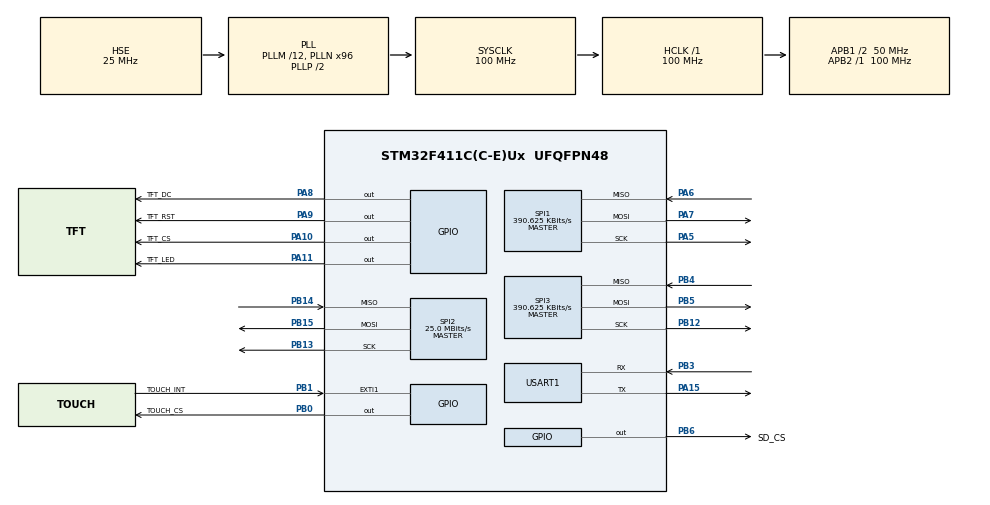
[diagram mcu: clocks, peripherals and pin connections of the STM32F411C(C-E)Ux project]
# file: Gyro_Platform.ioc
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Dma.Request0=SPI2_TX
Dma.SPI2_TX.0.Direction=DMA_MEMORY_TO_PERIPH
Dma.SPI2_TX.0.FIFOMode=DMA_FIFOMODE_DISABLE
Dma.SPI2_TX.0.Instance=DMA1_Stream4
Dma.SPI2_TX.0.MemDataAlignment=DMA_MDATAALIGN_BYTE
Dma.SPI2_TX.0.MemInc=DMA_MINC_ENABLE
Dma.SPI2_TX.0.Mode=DMA_NORMAL
Dma.SPI2_TX.0.PeriphDataAlignment=DMA_PDATAALIGN_BYTE
Dma.SPI2_TX.0.PeriphInc=DMA_PINC_DISABLE
Dma.SPI2_TX.0.Priority=DMA_PRIORITY_HIGH
FATFS._MAX_SS=512
FATFS._USE_FIND=1
Mcu.Family=STM32F4
Mcu.Name=STM32F411C(C-E)Ux
Mcu.Package=UFQFPN48
NVIC.DMA1_Stream4_IRQn=true\:0\:0\:false\:false\:true\:false\:true\:true
NVIC.EXTI1_IRQn=true\:8\:0\:true\:false\:true\:true\:true\:true
NVIC.PriorityGroup=NVIC_PRIORITYGROUP_4
NVIC.USART1_IRQn=true\:0\:0\:false\:false\:true\:true\:true\:true
PA10.GPIO_Label=TFT_CS
PA10.GPIO_PuPd=GPIO_PULLUP
PA10.GPIO_Speed=GPIO_SPEED_FREQ_HIGH
PA10.PinState=GPIO_PIN_SET
PA10.Signal=GPIO_Output
PA11.GPIO_Label=TFT_LED
PA11.GPIO_PuPd=GPIO_PULLUP
PA11.GPIO_Speed=GPIO_SPEED_FREQ_HIGH
PA11.PinState=GPIO_PIN_SET
PA11.Signal=GPIO_Output
PA15.Mode=Asynchronous
PA15.Signal=USART1_TX
PA5.Mode=Full_Duplex_Master
PA5.Signal=SPI1_SCK
PA6.Mode=Full_Duplex_Master
PA6.Signal=SPI1_MISO
PA7.Mode=Full_Duplex_Master
PA7.Signal=SPI1_MOSI
PA8.GPIO_Label=TFT_DC
PA8.GPIO_PuPd=GPIO_PULLUP
PA8.GPIO_Speed=GPIO_SPEED_FREQ_HIGH
PA8.PinState=GPIO_PIN_SET
PA8.Signal=GPIO_Output
PA9.GPIO_Label=TFT_RST
PA9.GPIO_PuPd=GPIO_PULLUP
PA9.GPIO_Speed=GPIO_SPEED_FREQ_HIGH
PA9.PinState=GPIO_PIN_SET
PA9.Signal=GPIO_Output
PB0.GPIO_Label=TOUCH_CS
PB0.GPIO_PuPd=GPIO_PULLUP
PB0.GPIO_Speed=GPIO_SPEED_FREQ_MEDIUM
PB0.PinState=GPIO_PIN_SET
PB0.Signal=GPIO_Output
PB1.GPIO_Label=TOUCH_INT
PB1.GPIO_ModeDefaultEXTI=GPIO_MODE_IT_RISING_FALLING
PB1.GPIO_PuPd=GPIO_PULLUP
PB1.Signal=GPXTI1
PB12.Mode=Full_Duplex_Master
PB12.Signal=SPI3_SCK
PB13.Mode=Full_Duplex_Master
PB13.Signal=SPI2_SCK
PB14.Mode=Full_Duplex_Master
PB14.Signal=SPI2_MISO
PB15.Mode=Full_Duplex_Master
PB15.Signal=SPI2_MOSI
PB3.Mode=Asynchronous
PB3.Signal=USART1_RX
PB4.Mode=Full_Duplex_Master
PB4.Signal=SPI3_MISO
PB5.Mode=Full_Duplex_Master
PB5.Signal=SPI3_MOSI
PB6.GPIO_Label=SD_CS
PB6.GPIO_PuPd=GPIO_PULLUP
PB6.GPIO_Speed=GPIO_SPEED_FREQ_HIGH
PB6.PinState=GPIO_PIN_SET
PB6.Signal=GPIO_Output
PH0\ -\ OSC_IN.Mode=HSE-External-Oscillator
PH0\ -\ OSC_IN.Signal=RCC_OSC_IN
PH1\ -\ OSC_OUT.Mode=HSE-External-Oscillator
PH1\ -\ OSC_OUT.Signal=RCC_OSC_OUT
ProjectManager.HeapSize=0x200
ProjectManager.StackSize=0x400
ProjectManager.TargetToolchain=STM32CubeIDE
RCC.48MHZClocksFreq_Value=50000000
RCC.AHBFreq_Value=100000000
RCC.APB1CLKDivider=RCC_HCLK_DIV2
RCC.APB1Freq_Value=50000000
RCC.APB1TimFreq_Value=100000000
RCC.APB2Freq_Value=100000000
RCC.APB2TimFreq_Value=100000000
RCC.CortexFreq_Value=100000000
RCC.HCLKFreq_Value=100000000
RCC.HSE_VALUE=25000000
RCC.HSI_VALUE=16000000
RCC.LSE_VALUE=32768
RCC.PLLM=12
RCC.PLLN=96
RCC.PLLSourceVirtual=RCC_PLLSOURCE_HSE
RCC.SYSCLKFreq_VALUE=100000000
RCC.SYSCLKSource=RCC_SYSCLKSOURCE_PLLCLK
RCC.VCOOutputFreq_Value=200000000
SPI1.BaudRatePrescaler=SPI_BAUDRATEPRESCALER_256
SPI1.CalculateBaudRate=390.625 KBits/s
SPI1.Direction=SPI_DIRECTION_2LINES
SPI1.Mode=SPI_MODE_MASTER
SPI1.VirtualType=VM_MASTER
SPI2.BaudRatePrescaler=SPI_BAUDRATEPRESCALER_2
SPI2.CLKPhase=SPI_PHASE_1EDGE
SPI2.CLKPolarity=SPI_POLARITY_LOW
SPI2.CalculateBaudRate=25.0 MBits/s
SPI2.Direction=SPI_DIRECTION_2LINES
SPI2.FirstBit=SPI_FIRSTBIT_MSB
SPI2.Mode=SPI_MODE_MASTER
SPI2.VirtualType=VM_MASTER
SPI3.BaudRatePrescaler=SPI_BAUDRATEPRESCALER_128
SPI3.CalculateBaudRate=390.625 KBits/s
SPI3.Direction=SPI_DIRECTION_2LINES
SPI3.Mode=SPI_MODE_MASTER
SPI3.VirtualType=VM_MASTER
USART1.VirtualMode=VM_ASYNC
VP_FATFS_VS_Generic.Mode=User_defined
board=custom

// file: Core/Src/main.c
/* USER CODE BEGIN Header */
/**
  ******************************************************************************
  * @file           : main.c
  * @brief          : Main program body
  ******************************************************************************
  * @attention
  *
  * Copyright (c) 2023 STMicroelectronics.
  * All rights reserved.
  *
  * This software is licensed under terms that can be found in the LICENSE file
  * in the root directory of this software component.
  * If no LICENSE file comes with this software, it is provided AS-IS.
  *
  ******************************************************************************
  */
/* USER CODE END Header */
#include "main.h"
#include "fatfs.h"

/* USER CODE BEGIN Includes */
#include <stdbool.h>
#include <stdio.h>
#include <stdlib.h>
#include <math.h>
#include <string.h>

#define ILI9341_INCLUDE_FONT_6x8
#define ILI9341_INCLUDE_FONT_7x10
#define ILI9341_INCLUDE_FONT_11x18
#define ILI9341_INCLUDE_FONT_16x26
#include "ILI9341_Driver.h"
#include "Graph.h"
#include "Filter.h"
#include "TouchScreen.h"
#include "DebugProtocol.h"
#include "Time.h"
/* USER CODE END Includes */

/* USER CODE BEGIN PTD */
typedef struct
{
    FATFS FatFs;         //Fatfs handle
    FIL fil;             //file handle
    uint16_t findex;     //file index
    char fname[16];      //file name
    FRESULT status;         //OK - true, ERROR - false
    uint32_t numRecords; //records counter
} file_t;
/* USER CODE END PTD */

SPI_HandleTypeDef hspi1;
SPI_HandleTypeDef hspi2;
SPI_HandleTypeDef hspi3;
DMA_HandleTypeDef hdma_spi2_tx;

UART_HandleTypeDef huart1;

/* USER CODE BEGIN PV */
timeUs_t currentTimeUs = 0, previousTimeUs = 0;

/* USER CODE END PV */

void SystemClock_Config(void);
static void MX_GPIO_Init(void);
static void MX_DMA_Init(void);
static void MX_SPI2_Init(void);
static void MX_USART1_UART_Init(void);
static void MX_SPI1_Init(void);
static void MX_SPI3_Init(void);
/* USER CODE BEGIN PFP */
static void InitGraphInterface();
static void GraphsAndTextUpdate(timeDelta_t, float*);
static void InitFileSystem(file_t*);
static void FileDataUpdate(file_t *file, timeUs_t time, float*);
static void FileSync(file_t*);
/* USER CODE END PFP */

/* USER CODE BEGIN 0 */
ILI9341_Port cs  = {TFT_CS_GPIO_Port , TFT_CS_Pin };
ILI9341_Port dc  = {TFT_DC_GPIO_Port , TFT_DC_Pin };
ILI9341_Port rst = {TFT_RST_GPIO_Port, TFT_RST_Pin};
ILI9341_Port led = {TFT_LED_GPIO_Port, TFT_LED_Pin};

Touch_Port touch_cs  = {TOUCH_CS_GPIO_Port , TOUCH_CS_Pin };
Touch_Port touch_int  = {TOUCH_INT_GPIO_Port , TOUCH_INT_Pin };

#ifdef ILI9341_INCLUDE_FONT_6x8
ILI9341_FontDef Font_6x8 = {6, 8, Font6x8, 32, 126};
#endif

#ifdef ILI9341_INCLUDE_FONT_7x10
ILI9341_FontDef Font_7x10 = {7, 10, Font7x10, 32, 126};
#endif

#ifdef ILI9341_INCLUDE_FONT_11x18
ILI9341_FontDef Font_11x18 = {11, 18, Font11x18, 32, 126};
#endif

#ifdef ILI9341_INCLUDE_FONT_16x26
ILI9341_FontDef Font_16x26 = {16, 26, Font16x26, 32, 126};
#endif

rect_t vBat_wnd, iBat_wnd, resBat_wnd, text_wnd;
point_t vBat_hdr, iBat_hdr, resBat_hdr;

graph_t vBat_graph, iBat_graph, iFilt_graph, resBat_graph, vSag_graph;

pt1Filter_t filter;

bool f_touch = false;
uint16_t guard_cnt = 0;
const uint16_t guard_threshold = 500;
uint16_t x, y;
uint8_t txt_wnd_num = 0;

const uint16_t data_num = 11;
float fltData[RX_MAX_CNT/sizeof(float)] = {0.0};

file_t file;
const uint16_t samples_threshold = 50; //to save the every 50 sample
float fltDataAvg[RX_MAX_CNT/sizeof(float)] = {0.0};
uint16_t samples_cnt = 0;

bool f_syncFile = false;
uint16_t syncFile_cnt = 0;
const uint16_t sync_period = 5000; //sync file period in milliseconds

bool first_filter_load = true;
/* USER CODE END 0 */

int main(void)
{

  /* MCU Configuration--------------------------------------------------------*/

  /* Reset of all peripherals, Initializes the Flash interface and the Systick. */
  HAL_Init();

  /* Configure the system clock */
  SystemClock_Config();

  /* USER CODE BEGIN SysInit */
  usTicks = SystemCoreClock / 1000000;
  /* USER CODE END SysInit */

  /* Initialize all configured peripherals */
  MX_GPIO_Init();
  MX_DMA_Init();
  MX_SPI2_Init();
  MX_USART1_UART_Init();
  MX_SPI1_Init();
  MX_SPI3_Init();
  MX_FATFS_Init();
  /* USER CODE BEGIN 2 */
  ILI9341_Set_Interface(&hspi2, true, &cs, &dc, &rst, &led);
  ILI9341_BackLight(true);
  ILI9341_Init();
  ILI9341_SetOrientation(SCREEN_VERTICAL_180GRAD);//SCREEN_HORIZONTAL_180GRAD);
  ILI9341_Clear(Black);

  Touch_Set_Interface(&hspi1, &touch_cs, &touch_int);

  InitGraphInterface();

  /* USER CODE END 2 */

  /* Infinite loop */
  /* USER CODE BEGIN WHILE */

  Debug_InitProtocol(&huart1, fltData);

  InitFileSystem(&file);

  while (1)
  {
      if (Debug_IsRxready())
      {
          currentTimeUs = micros();
          timeDelta_t dT = currentTimeUs - previousTimeUs;
          previousTimeUs = currentTimeUs;

          for (uint32_t i = 0; i < data_num; i++)
          {
              fltDataAvg[i] += fltData[i];
          }

          GraphsAndTextUpdate(dT, fltData);

          if (++samples_cnt == samples_threshold)
          {
              samples_cnt = 0;

              for (uint32_t i = 0; i < data_num; i++)
              {
                  fltDataAvg[i] /= samples_threshold;
              }

              FileDataUpdate(&file, currentTimeUs, fltDataAvg);

              for (uint32_t i = 0; i < data_num; i++)
              {
                  fltDataAvg[i] = 0;
              }
          }
      }

      if (f_touch == true)
      {
          f_touch = false;

          if (y < text_wnd.bottom)
          {
              ILI9341_DrawFillRectangle(text_wnd.left, text_wnd.top, text_wnd.right, text_wnd.bottom, Black);
             if (++txt_wnd_num > 1)
             {
                 txt_wnd_num = 0;
             }
          }
          else if (y > resBat_wnd.top)
          {
              uint8_t bt = 'R'; //Send reset signal to the host
              HAL_UART_Transmit_IT(&huart1, &bt, 1);
          }
      }

      if (f_syncFile == true)
      {
          f_syncFile = false;
          FileSync(&file);
      }

    /* USER CODE END WHILE */

  }
}

void SystemClock_Config(void)
{
  RCC_OscInitTypeDef RCC_OscInitStruct = {0};
  RCC_ClkInitTypeDef RCC_ClkInitStruct = {0};

  /** Configure the main internal regulator output voltage
  */
  __HAL_RCC_PWR_CLK_ENABLE();
  __HAL_PWR_VOLTAGESCALING_CONFIG(PWR_REGULATOR_VOLTAGE_SCALE1);

  /** Initializes the RCC Oscillators according to the specified parameters
  * in the RCC_OscInitTypeDef structure.
  */
  RCC_OscInitStruct.OscillatorType = RCC_OSCILLATORTYPE_HSE;
  RCC_OscInitStruct.HSEState = RCC_HSE_ON;
  RCC_OscInitStruct.PLL.PLLState = RCC_PLL_ON;
  RCC_OscInitStruct.PLL.PLLSource = RCC_PLLSOURCE_HSE;
  RCC_OscInitStruct.PLL.PLLM = 12;
  RCC_OscInitStruct.PLL.PLLN = 96;
  RCC_OscInitStruct.PLL.PLLP = RCC_PLLP_DIV2;
  RCC_OscInitStruct.PLL.PLLQ = 4;
  if (HAL_RCC_OscConfig(&RCC_OscInitStruct) != HAL_OK)
  {
    Error_Handler();
  }

  /** Initializes the CPU, AHB and APB buses clocks
  */
  RCC_ClkInitStruct.ClockType = RCC_CLOCKTYPE_HCLK|RCC_CLOCKTYPE_SYSCLK
                              |RCC_CLOCKTYPE_PCLK1|RCC_CLOCKTYPE_PCLK2;
  RCC_ClkInitStruct.SYSCLKSource = RCC_SYSCLKSOURCE_PLLCLK;
  RCC_ClkInitStruct.AHBCLKDivider = RCC_SYSCLK_DIV1;
  RCC_ClkInitStruct.APB1CLKDivider = RCC_HCLK_DIV2;
  RCC_ClkInitStruct.APB2CLKDivider = RCC_HCLK_DIV1;

  if (HAL_RCC_ClockConfig(&RCC_ClkInitStruct, FLASH_LATENCY_3) != HAL_OK)
  {
    Error_Handler();
  }
}

static void MX_SPI1_Init(void)
{

  /* SPI1 parameter configuration*/
  hspi1.Instance = SPI1;
  hspi1.Init.Mode = SPI_MODE_MASTER;
  hspi1.Init.Direction = SPI_DIRECTION_2LINES;
  hspi1.Init.DataSize = SPI_DATASIZE_8BIT;
  hspi1.Init.CLKPolarity = SPI_POLARITY_LOW;
  hspi1.Init.CLKPhase = SPI_PHASE_1EDGE;
  hspi1.Init.NSS = SPI_NSS_SOFT;
  hspi1.Init.BaudRatePrescaler = SPI_BAUDRATEPRESCALER_256;
  hspi1.Init.FirstBit = SPI_FIRSTBIT_MSB;
  hspi1.Init.TIMode = SPI_TIMODE_DISABLE;
  hspi1.Init.CRCCalculation = SPI_CRCCALCULATION_DISABLE;
  hspi1.Init.CRCPolynomial = 10;
  if (HAL_SPI_Init(&hspi1) != HAL_OK)
  {
    Error_Handler();
  }

}

static void MX_SPI2_Init(void)
{

  /* SPI2 parameter configuration*/
  hspi2.Instance = SPI2;
  hspi2.Init.Mode = SPI_MODE_MASTER;
  hspi2.Init.Direction = SPI_DIRECTION_2LINES;
  hspi2.Init.DataSize = SPI_DATASIZE_8BIT;
  hspi2.Init.CLKPolarity = SPI_POLARITY_LOW;
  hspi2.Init.CLKPhase = SPI_PHASE_1EDGE;
  hspi2.Init.NSS = SPI_NSS_SOFT;
  hspi2.Init.BaudRatePrescaler = SPI_BAUDRATEPRESCALER_2;
  hspi2.Init.FirstBit = SPI_FIRSTBIT_MSB;
  hspi2.Init.TIMode = SPI_TIMODE_DISABLE;
  hspi2.Init.CRCCalculation = SPI_CRCCALCULATION_DISABLE;
  hspi2.Init.CRCPolynomial = 10;
  if (HAL_SPI_Init(&hspi2) != HAL_OK)
  {
    Error_Handler();
  }

}

static void MX_SPI3_Init(void)
{

  /* SPI3 parameter configuration*/
  hspi3.Instance = SPI3;
  hspi3.Init.Mode = SPI_MODE_MASTER;
  hspi3.Init.Direction = SPI_DIRECTION_2LINES;
  hspi3.Init.DataSize = SPI_DATASIZE_8BIT;
  hspi3.Init.CLKPolarity = SPI_POLARITY_LOW;
  hspi3.Init.CLKPhase = SPI_PHASE_1EDGE;
  hspi3.Init.NSS = SPI_NSS_SOFT;
  hspi3.Init.BaudRatePrescaler = SPI_BAUDRATEPRESCALER_128;
  hspi3.Init.FirstBit = SPI_FIRSTBIT_MSB;
  hspi3.Init.TIMode = SPI_TIMODE_DISABLE;
  hspi3.Init.CRCCalculation = SPI_CRCCALCULATION_DISABLE;
  hspi3.Init.CRCPolynomial = 10;
  if (HAL_SPI_Init(&hspi3) != HAL_OK)
  {
    Error_Handler();
  }

}

static void MX_USART1_UART_Init(void)
{

  huart1.Instance = USART1;
  huart1.Init.BaudRate = 115200;
  huart1.Init.WordLength = UART_WORDLENGTH_8B;
  huart1.Init.StopBits = UART_STOPBITS_1;
  huart1.Init.Parity = UART_PARITY_NONE;
  huart1.Init.Mode = UART_MODE_TX_RX;
  huart1.Init.HwFlowCtl = UART_HWCONTROL_NONE;
  huart1.Init.OverSampling = UART_OVERSAMPLING_16;
  if (HAL_UART_Init(&huart1) != HAL_OK)
  {
    Error_Handler();
  }

}

static void MX_DMA_Init(void)
{

  /* DMA controller clock enable */
  __HAL_RCC_DMA1_CLK_ENABLE();

  /* DMA interrupt init */
  /* DMA1_Stream4_IRQn interrupt configuration */
  HAL_NVIC_SetPriority(DMA1_Stream4_IRQn, 0, 0);
  HAL_NVIC_EnableIRQ(DMA1_Stream4_IRQn);

}

static void MX_GPIO_Init(void)
{
  GPIO_InitTypeDef GPIO_InitStruct = {0};

  /* GPIO Ports Clock Enable */
  __HAL_RCC_GPIOH_CLK_ENABLE();
  __HAL_RCC_GPIOA_CLK_ENABLE();
  __HAL_RCC_GPIOB_CLK_ENABLE();

  /*Configure GPIO pin Output Level */
  HAL_GPIO_WritePin(GPIOB, TOUCH_CS_Pin|SD_CS_Pin, GPIO_PIN_SET);

  /*Configure GPIO pin Output Level */
  HAL_GPIO_WritePin(GPIOA, TFT_DC_Pin|TFT_RST_Pin|TFT_CS_Pin|TFT_LED_Pin, GPIO_PIN_SET);

  /*Configure GPIO pin : TOUCH_CS_Pin */
  GPIO_InitStruct.Pin = TOUCH_CS_Pin;
  GPIO_InitStruct.Mode = GPIO_MODE_OUTPUT_PP;
  GPIO_InitStruct.Pull = GPIO_PULLUP;
  GPIO_InitStruct.Speed = GPIO_SPEED_FREQ_MEDIUM;
  HAL_GPIO_Init(TOUCH_CS_GPIO_Port, &GPIO_InitStruct);

  /*Configure GPIO pin : TOUCH_INT_Pin */
  GPIO_InitStruct.Pin = TOUCH_INT_Pin;
  GPIO_InitStruct.Mode = GPIO_MODE_IT_RISING_FALLING;
  GPIO_InitStruct.Pull = GPIO_PULLUP;
  HAL_GPIO_Init(TOUCH_INT_GPIO_Port, &GPIO_InitStruct);

  /*Configure GPIO pins : TFT_DC_Pin TFT_RST_Pin TFT_CS_Pin TFT_LED_Pin */
  GPIO_InitStruct.Pin = TFT_DC_Pin|TFT_RST_Pin|TFT_CS_Pin|TFT_LED_Pin;
  GPIO_InitStruct.Mode = GPIO_MODE_OUTPUT_PP;
  GPIO_InitStruct.Pull = GPIO_PULLUP;
  GPIO_InitStruct.Speed = GPIO_SPEED_FREQ_HIGH;
  HAL_GPIO_Init(GPIOA, &GPIO_InitStruct);

  /*Configure GPIO pin : SD_CS_Pin */
  GPIO_InitStruct.Pin = SD_CS_Pin;
  GPIO_InitStruct.Mode = GPIO_MODE_OUTPUT_PP;
  GPIO_InitStruct.Pull = GPIO_PULLUP;
  GPIO_InitStruct.Speed = GPIO_SPEED_FREQ_HIGH;
  HAL_GPIO_Init(SD_CS_GPIO_Port, &GPIO_InitStruct);

  /* EXTI interrupt init*/
  HAL_NVIC_SetPriority(EXTI1_IRQn, 8, 0);
  HAL_NVIC_EnableIRQ(EXTI1_IRQn);

}

/* USER CODE BEGIN 4 */

/**
  * @brief UART RX complete callback
  * @param None
  * @retval None
  */
void HAL_UART_RxCpltCallback(UART_HandleTypeDef *huart)
{
    Debug_RxCpltCallback(huart);
}

/**
  * @brief
  * @retval None
  */
void HAL_SYSTICK_Callback()
{
    if(guard_cnt != 0)
    {
        --guard_cnt;
    }

    if (++syncFile_cnt == sync_period)
    {
        syncFile_cnt = 0;
        f_syncFile = true;
    }
}

/**
  * @brief
  * @retval None
  */
void HAL_GPIO_EXTI_Callback(uint16_t GPIO_Pin)
{
    if (GPIO_Pin == touch_int.pin)
    {
        if (guard_cnt == 0 && f_touch == false)
        {
            if (HAL_GPIO_ReadPin(touch_int.gpio, touch_int.pin) == GPIO_PIN_RESET)
            {
                Touch_Get_Coordinates(&x, &y, true);
                f_touch = true;
            }

            guard_cnt =  guard_threshold;
        }
    }
}

/**
  * @brief  To draw two windows for the Graphs
  * @retval None
  */
static void InitGraphInterface()
{
    char str[32];
    const uint16_t wnd_height = 130;
    const uint16_t y_offset= 70;

    vBat_hdr.x = 10; vBat_hdr.y = y_offset - Font_7x10.height;
    sprintf(str, "iBat(-5-25)A");
    ILI9341_WriteString(str, Font_7x10, vBat_hdr.x, vBat_hdr.y, Yellow, Red);

    iBat_hdr.x = 100; iBat_hdr.y = y_offset - Font_7x10.height;
    sprintf(str, "vBat(15-30)V");
    ILI9341_WriteString(str, Font_7x10, iBat_hdr.x, iBat_hdr.y, Blue, Green);

    resBat_hdr.x = 200; resBat_hdr.y = y_offset - Font_7x10.height;
    sprintf(str, "resBat(0-150)mOmh");
    ILI9341_WriteString(str, Font_7x10, resBat_hdr.x, resBat_hdr.y, Green, Blue);

    iBat_wnd.left   = 1;
    iBat_wnd.top    = y_offset;
    iBat_wnd.right  = 318;
    iBat_wnd.bottom = iBat_wnd.top + wnd_height;
    Graph_InitDynamic(&iBat_wnd, &iFilt_graph, -500, 2500, Yellow, Black);
    Graph_InitDynamic(&iBat_wnd, &iBat_graph, -500, 2500, Red, Black);

    vBat_wnd.left   = 1;
    vBat_wnd.top    = iBat_wnd.bottom + 5;
    vBat_wnd.right  = 318;
    vBat_wnd.bottom = vBat_wnd.top + wnd_height;
    Graph_InitDynamic(&vBat_wnd, &vSag_graph, 150, 300, Cyan, Black);
    Graph_InitDynamic(&vBat_wnd, &vBat_graph, 150, 300, Green, Black);

    resBat_wnd.left   = 1;
    resBat_wnd.top    = vBat_wnd.bottom + 5;
    resBat_wnd.right  = 318;
    resBat_wnd.bottom = resBat_wnd.top + wnd_height;
    Graph_InitDynamic(&resBat_wnd, &resBat_graph, 0, 150, Blue, Black);

    text_wnd.left = 0; text_wnd.right = 320; text_wnd.top = 0; text_wnd.bottom = Font_16x26.height * 2;
}

/**
  * @brief  To plot graphs and update text information
  * @retval None
  */
static void GraphsAndTextUpdate(timeDelta_t dT, float *flt_data)
{
    char str[32];
    point_t point;
    uint32_t data;
    char sign;

    //IBat
    if (first_filter_load == true)
    {
        first_filter_load = false;
        filter.state = fltData[0];
    }
    pt1FilterApply4(&filter, fltData[0], 0.5, US2S(dT));

    point.x = 0; point.y = Font_16x26.height + 5;
    data = (uint32_t)(fabs(filter.state) * 100);
    sign  = (filter.state < 0) ? '-': ' ';
    sprintf(str, "I%c%2lu.%02lu", sign, data/100, data % 100);
    ILI9341_WriteString(str, Font_16x26, point.x, point.y, Red, Black);

    if (txt_wnd_num == 0)
    {
        //vBat
        point.x = 0; point.y = 0;
        data = (uint32_t)(fltData[1] * 10);
        sprintf(str, "V%2lu.%1lu", data/10, data % 10);
        ILI9341_WriteString(str, Font_16x26, point.x, point.y, Green, Black);

        //Battery Impedance
        point.x = Font_16x26.width * 6; point.y = 0;
        data = (uint32_t)(fltData[4] * 10000);
        sprintf(str, "R%3lu.%1lu", data/10, data % 10);
        ILI9341_WriteString(str, Font_16x26, point.x, point.y, Blue, Black);

        //Capacity mAh
        point.x = Font_16x26.width * 8; point.y = Font_16x26.height + 5;
        sign  = (fltData[2] < 0) ? '-': ' ';
        data = (uint32_t)(fabs(fltData[2]) * 10);
        sprintf(str, "%c%4lu.%1lumAh", sign, data/10, data % 10);
        ILI9341_WriteString(str, Font_16x26, point.x, point.y, Orange, Black);

        //Capacity Wh
        point.x = Font_16x26.width * 12; point.y = 0;
        sign  = (fltData[3] < 0) ? '-': ' ';
        data = (uint32_t)(fabs(fltData[3]) * 100);
        sprintf(str, "%c%2lu.%02luWh", sign, data/100, data % 100);
        ILI9341_WriteString(str, Font_16x26, point.x, point.y, Magenta, Black);
    }
    else
    {
        //vRest
        point.x = 0; point.y = 0;
        data = (uint32_t)(fltData[7] * 10);
        sprintf(str, "V%2lu.%1lu", data/10, data % 10);
        ILI9341_WriteString(str, Font_16x26, point.x, point.y, Yellow, Black);

        //Battery temperature
        point.x = Font_16x26.width * 6; point.y = 0;
        sign  = (fltData[8] < 0) ? '-': ' ';
        data = (uint32_t)(fabs(fltData[8]) * 10);
        sprintf(str, "t%c%2lu.%1lu", sign, data/10, data % 10);
        ILI9341_WriteString(str, Font_16x26, point.x, point.y, Olive, Black);

        //Remaining capacity Wh
        point.x = Font_16x26.width * 12; point.y = 0;
        sign  = (fltData[10] < 0) ? '-': ' ';
        data = (uint32_t)(fabs(fltData[10]) * 100);
        sprintf(str, "%c%2lu.%02luWh", sign, data/100, data % 100);
        ILI9341_WriteString(str, Font_16x26, point.x, point.y, Purple, Black);

        //Remaining capacity mAh
        point.x = Font_16x26.width * 8; point.y = Font_16x26.height + 5;
        sign  = (fltData[5] < 0) ? '-': ' ';
        data = (uint32_t)(fabs(fltData[5]) * 10);
        sprintf(str, "%c%4lu.%1lumAh", sign, data/10, data % 10);
        ILI9341_WriteString(str, Font_16x26, point.x, point.y, Cyan, Black);

        //Capacity module
/*        point.x = Font_16x26.width * 13; point.y = 0;
        data = (uint32_t)(fabs(fltData[6]) * 10);
        sprintf(str, "M%4lu.%1lu", data/10, data % 10);
        ILI9341_WriteString(str, Font_16x26, point.x, point.y, Purple, Black);*/
    }

    int16_t iFilt_int = (int16_t)(filter.state * 100);
    Graph_DynamicDraw(iFilt_int, &iFilt_graph, false);

    int16_t iBat_int = (int16_t)(fltData[0] * 100);
    Graph_DynamicDraw(iBat_int, &iBat_graph, true);

    int16_t vSag_int = (int16_t)(fltData[7] * 10);
    Graph_DynamicDraw(vSag_int, &vSag_graph, false);

    int16_t vBat_int = (int16_t)(fltData[1] * 10);
    Graph_DynamicDraw(vBat_int, &vBat_graph, true);

    int16_t resBat_int = (int16_t)(fltData[4] * 1000);
    Graph_DynamicDraw(resBat_int, &resBat_graph, true);
}

/**
  * @brief  Initialize a file system and create a file
  * @retval None
  */
static void InitFileSystem(file_t *file)
{
    DIR dir;
    FILINFO finfo;
    char str[256];

    file->findex = 0;

    file->status = f_mount(&file->FatFs, "", 1);

    while (file->status == FR_OK)
    {
        sprintf(file->fname, "log%d.txt", file->findex);
        file->status = f_findfirst(&dir, &finfo, "", file->fname);
        if (file->status == FR_OK && finfo.fname[0] == 0)
        {
            file->status = f_open(&file->fil, file->fname, FA_WRITE | FA_OPEN_ALWAYS | FA_CREATE_ALWAYS);
            break;
        }
        else
        {
            ++file->findex;
        }
    }

    if (file->status == FR_OK)
    {
        sprintf(str, "    N:         T(ms):    U(V): Usag(V):      I(A):  ESR(mO):   Temp(C):     Q(mAh):     E(Wh):  Qrem(mAh):  Erem(Wh): Qmod(mAh):   Cycle:\r\n");

        uint32_t bytesWrote;
        file->status = f_write(&file->fil, str, strlen(str), (UINT*)&bytesWrote);
        file->numRecords = 0;
    }
}

/**
  * @brief  Update file
  * @retval None
  */
static void FileDataUpdate(file_t *file, timeUs_t time, float *fltData)
{
    char str[32];
    char buf[256];
    uint32_t data;
    char sign;

    if (file->status != FR_OK)
    {
        return;
    }

    sprintf(buf, "%06ld     ", ++file->numRecords);

    sprintf(str, "%010ld     ", (uint32_t)(time/1000));
    strcat(buf, str);

    //vBat
    data = (uint32_t)(fltData[1] * 10);
    sprintf(str, "%2lu.%1lu     ", data/10, data % 10);
    strcat(buf, str);

    //vRest
    data = (uint32_t)(fltData[7] * 10);
    sprintf(str, "%2lu.%1lu     ", data/10, data % 10);
    strcat(buf, str);

    //iBat
    data = (uint32_t)(fabs(fltData[0]) * 100);
    sign  = (fltData[0] < 0) ? '-': ' ';
    sprintf(str, "%c%2lu.%02lu     ", sign, data/100, data % 100);
    strcat(buf, str);

    //Battery Impedance
    data = (uint32_t)(fltData[4] * 10000);
    sprintf(str, "%3lu.%1lu     ", data/10, data % 10);
    strcat(buf, str);

    //Battery temperature
    sign  = (fltData[8] < 0) ? '-': ' ';
    data = (uint32_t)(fabs(fltData[8]) * 10);
    sprintf(str, "%c%3lu.%1lu     ", sign, data/10, data % 10);
    strcat(buf, str);

    //Capacity mAh
    sign  = (fltData[2] < 0) ? '-': ' ';
    data = (uint32_t)(fabs(fltData[2]) * 10);
    sprintf(str, "%c%4lu.%1lu     ", sign, data/10, data % 10);
    strcat(buf, str);

    //Capacity Wh
    sign  = (fltData[3] < 0) ? '-': ' ';
    data = (uint32_t)(fabs(fltData[3]) * 100);
    sprintf(str, "%c%2lu.%02lu     ", sign, data/100, data % 100);
    strcat(buf, str);

    //Remaining capacity mAh
    sign  = (fltData[5] < 0) ? '-': ' ';
    data = (uint32_t)(fabs(fltData[5]) * 10);
    sprintf(str, "%c%4lu.%1lu     ", sign, data/10, data % 10);
    strcat(buf, str);

    //Remaining capacity Wh
    sign  = (fltData[10] < 0) ? '-': ' ';
    data = (uint32_t)(fabs(fltData[10]) * 100);
    sprintf(str, "%c%2lu.%02lu     ", sign, data/100, data % 100);
    strcat(buf, str);

    //Capacity module
    data = (uint32_t)(fabs(fltData[6]) * 10);
    sprintf(str, "%4lu.%1lu     ", data/10, data % 10);
    strcat(buf, str);

    //LifeCycles
    data = (uint32_t)fltData[9];
    sprintf(str, "%4lu     ", data);
    strcat(buf, str);

    sprintf(str, "\r\n");
    strcat(buf, str);

    uint32_t bytesWrote;
    file->status = f_write(&file->fil, buf, strlen(buf), (UINT*)&bytesWrote);
}

/**
  * @brief  Sync file
  * @retval None
  */
static void FileSync(file_t* file)
{
    if (file->status == FR_OK)
    {
        file->status = f_sync(&file->fil);
    }
}

/* USER CODE END 4 */

void Error_Handler(void)
{
  __disable_irq();
  while (1)
  {
  }
}
